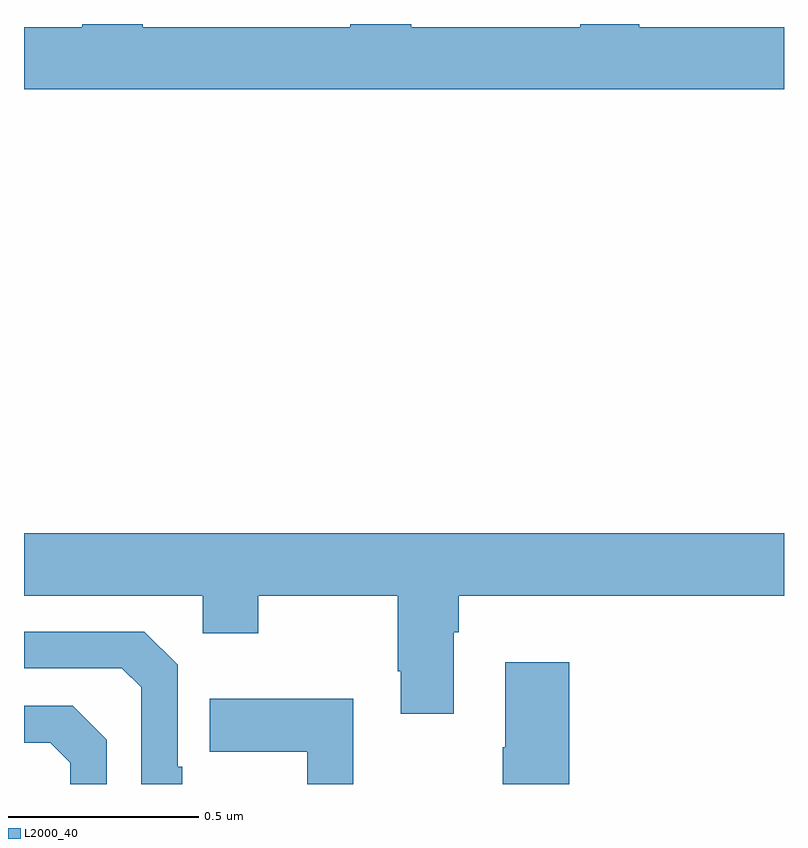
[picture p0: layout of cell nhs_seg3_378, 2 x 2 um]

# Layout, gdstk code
import gdstk
lib = gdstk.Library(unit=1e-6, precision=1e-09)
def P(c, l, *ps):  # polygons
    for p in ps: c.add(gdstk.Polygon(p, *l))
L2000_40 = (2000, 40)

nhs_seg3_378 = lib.new_cell('nhs_seg3_378')
P(nhs_seg3_378, L2000_40, [(117,722.392),(116.619,722.392),(116.619,722.4),(116.464,722.4),(116.464,722.392),(116.019,722.392),(116.019,722.4),(115.859,722.4),(115.859,722.392),(115.313,722.392),(115.313,722.4),(115.153,722.4),(115.153,722.392),(115,722.392),(115,722.228),(117,722.228)],
  [(116.131,720.8),(116.144,720.8),(116.144,720.896),(117,720.896),(117,721.06),(115,721.06),(115,720.896),(115.47,720.896),(115.47,720.797),(115.617,720.797),(115.617,720.896),(115.984,720.896),(115.984,720.697),(115.991,720.697),(115.991,720.585),(116.131,720.585)],
  [(115.417,720.445),(115.404,720.445),(115.404,720.714),(115.317,720.801),(115,720.801),(115,720.705),(115.257,720.705),(115.308,720.654),(115.308,720.4),(115.417,720.4)],
  [(116.435,720.721),(116.267,720.721),(116.267,720.497),(116.26,720.497),(116.26,720.4),(116.435,720.4)],
  [(115.867,720.625),(115.489,720.625),(115.489,720.485),(115.746,720.485),(115.746,720.4),(115.867,720.4)],
  [(115.218,720.516),(115.128,720.606),(115,720.606),(115,720.509),(115.069,720.509),(115.122,720.456),(115.122,720.4),(115.218,720.4)])

lib.write_gds('nhs_seg3_378.gds')
